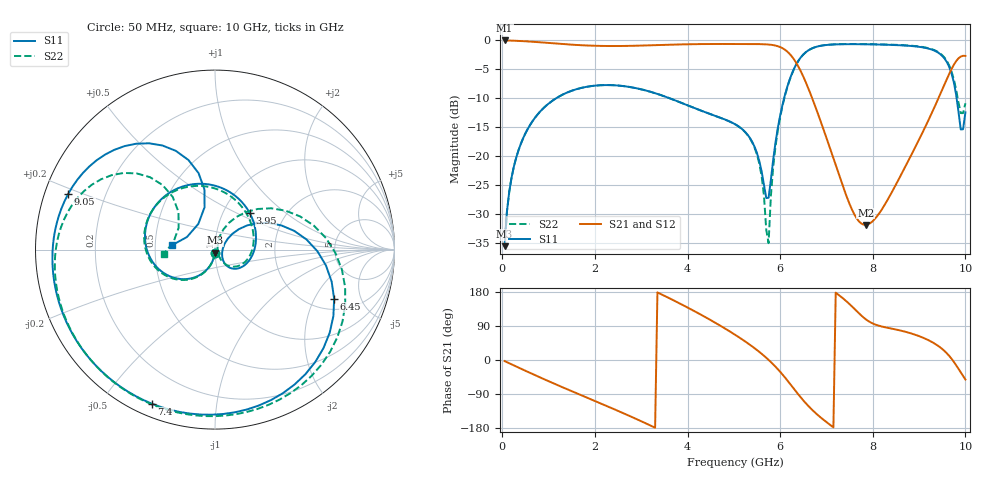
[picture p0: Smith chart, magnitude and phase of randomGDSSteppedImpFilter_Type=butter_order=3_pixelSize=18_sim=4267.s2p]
! freq	dB(S11)	phase(S11)	dB(S12)	phase(S12)
!  dB(S21)	phase(S21)	dB(S22)	phase(S22)
!S-par simulation data
#  GHz  S  DB  R 50
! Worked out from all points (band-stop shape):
!   200 points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, 50 MHz to 10 GHz, reference 50 ohm
!   highest |S21| = -0.01 dB at 50 MHz (marker M1); lowest = -31.8 dB at 7.85 GHz (marker M2)
!   |S21| within 3 dB of the highest: start of sweep to 6.275 GHz; 9.864 GHz to end of sweep
!   lowest |S11| = -35.5 dB at 50 MHz (marker M3), VSWR 1.03, Z = 49.9 - j1.67 ohm
!   |S11| at or under -10 dB: start of sweep to 1.158 GHz; 3.62 GHz to 6.085 GHz (2.465 GHz wide, 50.8 % of centre); 9.811 GHz to end of sweep
!   |S22| runs from -35.5 to -0.6 dB; largest |S21 - S12| = 0
!   S11 on the Smith chart (normalised r, x): 50 MHz: 1.00, -0.03; 3.95 GHz: 1.33, +0.59; 6.45 GHz: 2.57, -2.91; 7.4 GHz: 0.05, -0.67; 9.05 GHz: 0.07, +0.18; 10 GHz: 0.61, +0.03
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0.05  -35.50 -92.6  -0.01 -2.9  -0.01 -2.9  -35.50 -92.5
0.2  -23.67 -102.0  -0.04 -11.5  -0.04 -11.5  -23.67 -101.7
0.5  -16.03 -119.5  -0.15 -28.5  -0.15 -28.5  -16.03 -118.5
1.75  -8.12 172.3  -0.85 -95.3  -0.85 -95.3  -8.12 175.9
2.55  -7.82 129.6  -0.96 -137.0  -0.96 -137.0  -7.82 135.5
3.4  -9.37 80.8  -0.79 175.4  -0.79 175.4  -9.37 89.8
3.95  -11.04 46.4  -0.67 141.7  -0.67 141.7  -11.04 57.5
4.55  -12.88 6.8  -0.62 101.7  -0.62 101.7  -12.88 18.5
5.05  -14.57 -27.5  -0.62 64.8  -0.62 64.8  -14.58 -18.2
5.5  -19.46 -54.6  -0.63 26.2  -0.63 26.2  -19.72 -54.0
5.75  -27.16 7.5  -0.71 0.4  -0.71 0.4  -34.99 37.8
5.95  -15.10 40.5  -1.00 -24.2  -1.00 -24.2  -15.52 62.5
6.2  -6.87 13.3  -2.28 -60.8  -2.28 -60.8  -6.96 28.9
6.45  -2.88 -22.4  -5.40 -99.4  -5.40 -99.4  -2.90 -9.0
6.7  -1.33 -54.0  -10.14 -132.6  -10.14 -132.6  -1.33 -41.5
7.4  -0.65 -112.2  -26.15 158.2  -26.15 158.2  -0.62 -100.0
7.85  -0.67 -138.4  -31.83 107.4  -31.83 107.4  -0.63 -125.4
8.35  -0.76 -164.1  -27.08 84.2  -27.08 84.2  -0.72 -149.5
9.05  -1.16 159.2  -16.30 60.6  -16.30 60.6  -1.10 177.1
9.6  -3.74 116.8  -6.67 17.6  -6.67 17.6  -3.55 140.0
9.9  -15.37 123.0  -2.79 -32.7  -2.79 -32.7  -12.54 149.1
10  -12.42 173.9  -2.68 -51.5  -2.68 -51.5  -10.84 -175.3
